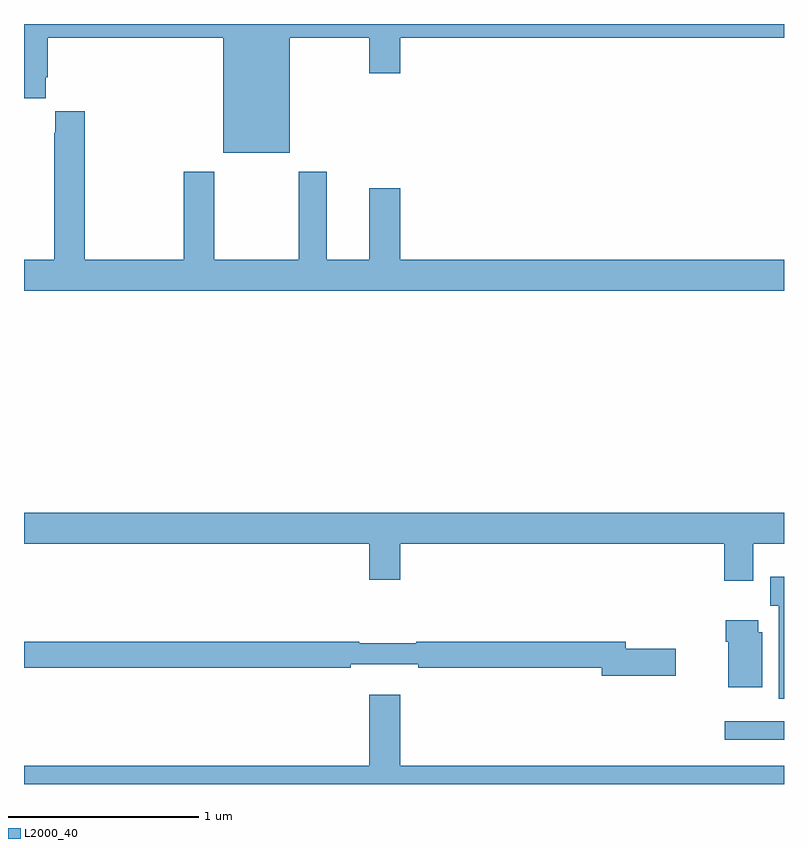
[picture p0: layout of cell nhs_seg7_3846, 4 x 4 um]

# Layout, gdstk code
import gdstk
lib = gdstk.Library(unit=1e-6, precision=1e-09)
def R(c, l, rs):  # rectangles x0, y0, x1, y1
    for r in rs: c.add(gdstk.rectangle(r[:2], r[2:], *l))
def P(c, l, *ps):  # polygons
    for p in ps: c.add(gdstk.Polygon(p, *l))
L2000_40 = (2000, 40)

nhs_seg7_3846 = lib.new_cell('nhs_seg7_3846')
R(nhs_seg7_3846, L2000_40, [(358.689,1018.232,359,1018.329)])
P(nhs_seg7_3846, L2000_40, [(356.398,1021.928),(356.816,1021.928),(356.816,1021.74),(356.98,1021.74),(356.98,1021.928),(359,1021.928),(359,1022),(355,1022),(355,1021.608),(355.114,1021.608),(355.114,1021.72),(355.124,1021.72),(355.124,1021.928),(356.048,1021.928),(356.048,1021.322),(356.398,1021.322)],
  [(359,1020.76),(356.98,1020.76),(356.98,1021.135),(356.816,1021.135),(356.816,1020.76),(356.593,1020.76),(356.593,1021.222),(356.446,1021.222),(356.446,1020.76),(356.001,1020.76),(356.001,1021.222),(355.841,1021.222),(355.841,1020.76),(355.319,1020.76),(355.319,1021.54),(355.165,1021.54),(355.165,1021.427),(355.159,1021.427),(355.159,1020.76),(355,1020.76),(355,1020.596),(359,1020.596)],
  [(358.837,1019.264),(359,1019.264),(359,1019.428),(355,1019.428),(355,1019.264),(356.816,1019.264),(356.816,1019.076),(356.98,1019.076),(356.98,1019.264),(358.685,1019.264),(358.685,1019.07),(358.837,1019.07)],
  [(359,1019.092),(358.928,1019.092),(358.928,1018.938),(358.973,1018.938),(358.973,1018.449),(359,1018.449)],
  [(358.885,1018.8),(358.864,1018.8),(358.864,1018.861),(358.694,1018.861),(358.694,1018.748),(358.706,1018.748),(358.706,1018.508),(358.885,1018.508)],
  [(358.429,1018.712),(358.168,1018.712),(358.168,1018.748),(357.064,1018.748),(357.064,1018.741),(356.764,1018.741),(356.764,1018.748),(355,1018.748),(355,1018.612),(356.72,1018.612),(356.72,1018.631),(357.076,1018.631),(357.076,1018.612),(358.04,1018.612),(358.04,1018.57),(358.429,1018.57)],
  [(359,1018.096),(356.98,1018.096),(356.98,1018.471),(356.816,1018.471),(356.816,1018.096),(355,1018.096),(355,1018),(359,1018)])

lib.write_gds('nhs_seg7_3846.gds')
